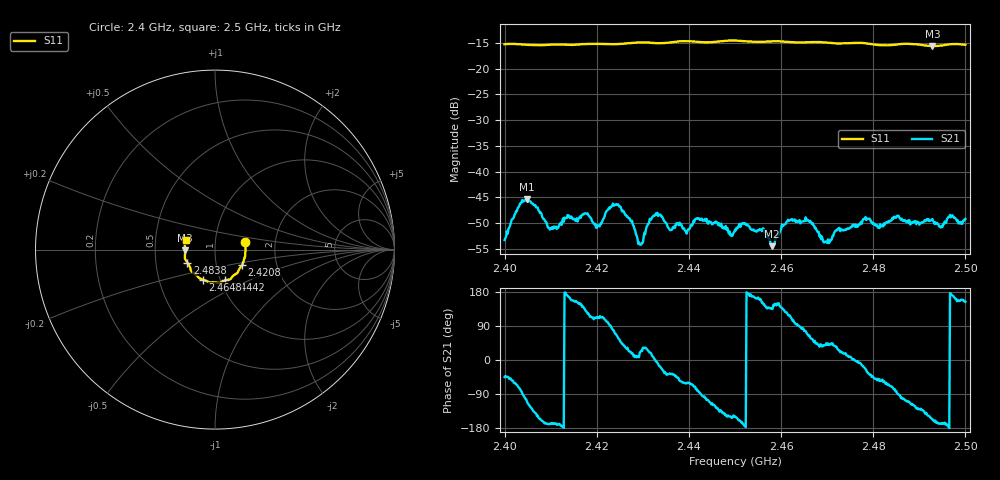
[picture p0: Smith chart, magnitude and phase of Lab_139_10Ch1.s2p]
# Hz S RI R 50
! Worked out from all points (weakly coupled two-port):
!   601 points, 2.4 GHz to 2.5 GHz, reference 50 ohm
!   highest |S21| = -45.37 dB at 2.4048 GHz (marker M1); lowest = -54.5 dB at 2.458 GHz (marker M2)
!   lowest |S11| = -15.6 dB at 2.4928 GHz (marker M3), VSWR 1.40, Z = 35.8 - j0.356 ohm
!   |S11| at or under -10 dB: start of sweep to end of sweep
!   S12 and S22 are empty: the file has one direction only
!   S11 on the Smith chart (normalised r, x): 2.4 GHz: 1.40, +0.12; 2.4208 GHz: 1.33, -0.24; 2.4442 GHz: 1.05, -0.37; 2.4648 GHz: 0.83, -0.29; 2.4838 GHz: 0.73, -0.11; 2.5 GHz: 0.72, +0.08
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2.4e9  0.1678 0.0412  0.00153 -0.00153  0 0  0 0
2.404833e9  0.1702 0.0105  -0.0017 -0.00511  0 0  0 0
2.41e9  0.169 -0.0278  -0.00273 -0.000567  0 0  0 0
2.416667e9  0.1589 -0.0681  -0.00311 0.00205  0 0  0 0
2.420833e9  0.1506 -0.0872  -0.00122 0.00288  0 0  0 0
2.424667e9  0.1372 -0.106  0.00258 0.00404  0 0  0 0
2.4295e9  0.126 -0.1289  0.00181 0.000714  0 0  0 0
2.433333e9  0.108 -0.1401  0.00362 -0.000709  0 0  0 0
2.436e9  0.0946 -0.1532  0.00215 -0.00161  0 0  0 0
2.444167e9  0.0568 -0.1713  -0.000843 -0.003  0 0  0 0
2.45e9  0.0246 -0.1862  -0.00233 -0.00141  0 0  0 0
2.455833e9  -0.013 -0.1819  -0.00231 0.00126  0 0  0 0
2.458e9  -0.0254 -0.1826  -0.00138 0.00128  0 0  0 0
2.461667e9  -0.0448 -0.1763  -0.00151 0.00294  0 0  0 0
2.464833e9  -0.0683 -0.1667  0.000435 0.00326  0 0  0 0
2.466667e9  -0.0801 -0.1627  0.00174 0.00257  0 0  0 0
2.47e9  -0.093 -0.1533  0.00157 0.00129  0 0  0 0
2.478333e9  -0.1353 -0.1134  0.0033 -0.00147  0 0  0 0
2.483333e9  -0.1505 -0.0763  0.00143 -0.00298  0 0  0 0
2.483833e9  -0.1532 -0.0721  0.00116 -0.00311  0 0  0 0
2.492833e9  -0.1657 -0.00483  -0.00316 -0.00139  0 0  0 0
2.5e9  -0.1625 0.0528  -0.00311 0.00153  0 0  0 0
